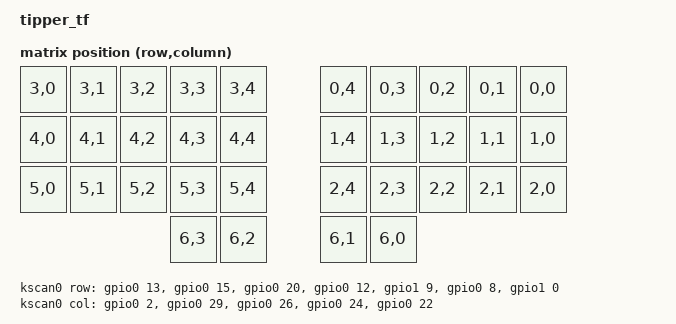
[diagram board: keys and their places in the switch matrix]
/*
 * Copyright (c) 2021 @weteor
 *
 * SPDX-License-Identifier: MIT
 */

/dts-v1/;
#include <nordic/nrf52840_qiaa.dtsi>
#include <dt-bindings/zmk/matrix_transform.h>

/ {
	model = "tipper_tf";
	compatible = "weteor,tipper_tf";

	chosen {
		zephyr,code-partition = &code_partition;
		zephyr,sram = &sram0;
		zephyr,flash = &flash0;
		zmk,kscan = &kscan0;
		zmk,matrix_transform = &default_transform;
	};

	default_transform: keymap_transform_0 {
		compatible = "zmk,matrix-transform";
		rows = <7>;
		columns = <5>;
		map = <
		RC(3,0) RC(3,1) RC(3,2) RC(3,3) RC(3,4) 		RC(0,4) RC(0,3) RC(0,2) RC(0,1) RC(0,0)
		RC(4,0) RC(4,1) RC(4,2) RC(4,3) RC(4,4) 		RC(1,4) RC(1,3) RC(1,2) RC(1,1) RC(1,0)
		RC(5,0) RC(5,1) RC(5,2) RC(5,3) RC(5,4)	        RC(2,4) RC(2,3) RC(2,2) RC(2,1) RC(2,0)
		                        RC(6,3) RC(6,2) 		RC(6,1) RC(6,0)
		>;
	};

	kscan0: kscan {
		compatible = "zmk,kscan-gpio-matrix";
		label = "KSCAN";
        
        debounce-period = <6>;

		diode-direction = "row2col";
		col-gpios
			= <&gpio0  2 (GPIO_ACTIVE_HIGH | GPIO_PULL_DOWN)>
			, <&gpio0 29 (GPIO_ACTIVE_HIGH | GPIO_PULL_DOWN)>
			, <&gpio0 26 (GPIO_ACTIVE_HIGH | GPIO_PULL_DOWN)>
			, <&gpio0 24 (GPIO_ACTIVE_HIGH | GPIO_PULL_DOWN)>
			, <&gpio0 22 (GPIO_ACTIVE_HIGH | GPIO_PULL_DOWN)>
			;
		row-gpios
			= <&gpio0 13 GPIO_ACTIVE_HIGH>
			, <&gpio0 15 GPIO_ACTIVE_HIGH>
			, <&gpio0 20 GPIO_ACTIVE_HIGH>
			, <&gpio0 12 GPIO_ACTIVE_HIGH>
			, <&gpio1  9 GPIO_ACTIVE_HIGH>
			, <&gpio0  8 GPIO_ACTIVE_HIGH>
			, <&gpio1  0 GPIO_ACTIVE_HIGH>
			;
	};

	vbatt {
		compatible = "zmk,battery-voltage-divider";
		label = "BATTERY";
		io-channels = <&adc 7>;
		output-ohms = <2000000>;
		full-ohms = <(2000000 + 820000)>;
	};
};

&adc {
	status = "okay";
};

&gpiote {
	status = "okay";
};

&gpio0 {
	status = "okay";
};

&gpio1 {
	status = "okay";
};

&spi0 {
    compatible = "nordic,nrf-spim";
    status = "okay";
    sck-pin = <9>;
    mosi-pin = <10>; 
    miso-pin = <5>; 
    /* cs-gpios = <&gpio0 4 (GPIO_ACTIVE_LOW | GPIO_PULL_UP)>; */
    cs-gpios = <&gpio0 4 GPIO_ACTIVE_LOW>;

    jd79653@0 {
        compatible = "gooddisplay,jd79653";
        label = "DISPLAY";
        spi-max-frequency = <4000000>;
        reg = <0>;
        height = <200>;
        width  = <200>;
        dc-gpios = <&gpio0 6 GPIO_ACTIVE_LOW>;
        reset-gpios = <&gpio1 13 GPIO_ACTIVE_LOW>;
        /* busy-gpios = <&gpio1 15 GPIO_ACTIVE_LOW>; */
        busy-gpios = <&gpio1 15 (GPIO_ACTIVE_LOW | GPIO_PULL_UP)>;
        /* pwr = [03 06 29 29]; */
        pwr = [03 0a 39 39 06]; //std Values
        tcon = <0x22>;
        cdi  = <0x07>;
        vcom-dc = <0x00>;
    };
};

&usbd {
	status = "okay";
};

&flash0 {
	/*
	 * For more information, see:
	 * http://docs.zephyrproject.org/latest/devices/dts/flash_partitions.html
	 */
	partitions {
		compatible = "fixed-partitions";
		#address-cells = <1>;
		#size-cells = <1>;

		sd_partition: partition@0 {
			label = "mbr";
			reg = <0x00000000 0x00001000>;
		};
		code_partition: partition@1000 {
			label = "code_partition";
			reg = <0x00001000 0x000d3000>;
		};

		storage_partition: partition@d4000 {
			label = "storage";
			reg = <0x000d4000 0x00020000>;
		};

		boot_partition: partition@f4000 {
			label = "adafruit_boot";
			reg = <0x000f4000 0x0000c000>;
		};
	};
};

